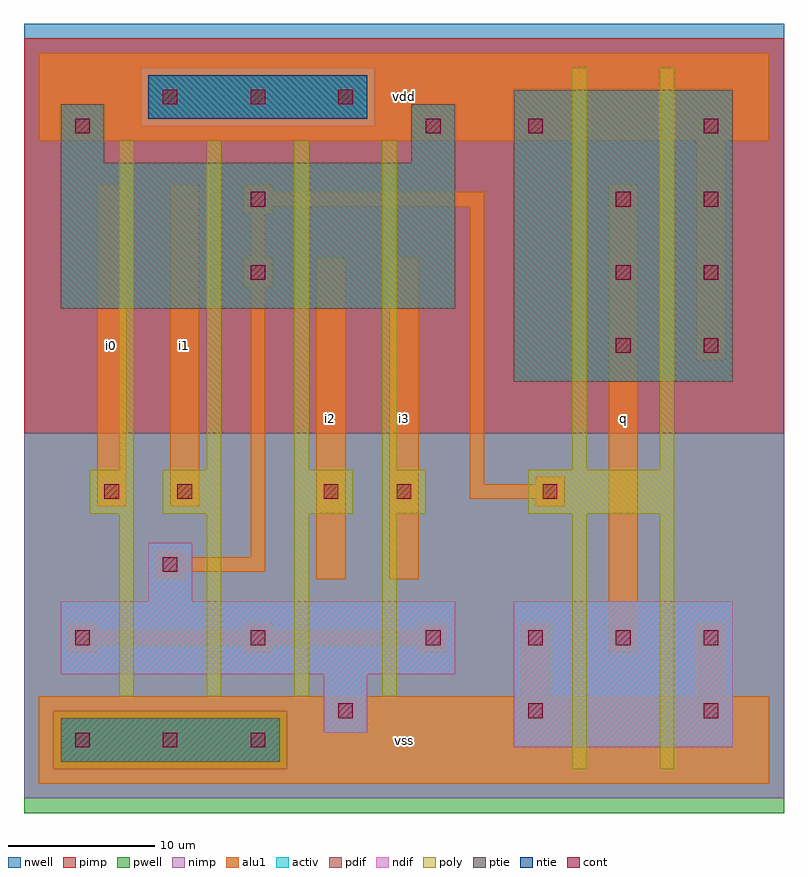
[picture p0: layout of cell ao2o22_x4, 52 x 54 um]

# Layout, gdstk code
import gdstk
lib = gdstk.Library(unit=1e-6, precision=1e-09)
def R(c, l, rs):  # rectangles x0, y0, x1, y1
    for r in rs: c.add(gdstk.rectangle(r[:2], r[2:], *l))
def A(c, l, x, y, w, h, nx, ny, dx, dy):  # array of equal rectangles
    R(c, l, [(x+i*dx, y+j*dy, x+i*dx+w, y+j*dy+h) for i in range(nx) for j in range(ny)])
ndif = (3, 0)
pdif = (4, 0)
ntie = (5, 0)
ptie = (6, 0)
cont = (25, 0)
pwell = (41, 0)
nwell = (42, 0)
activ = (43, 0)
pimp = (44, 0)
nimp = (45, 0)
poly = (46, 0)
alu1 = (49, 0)

ao2o22_x4 = lib.new_cell('ao2o22_x4')
R(ao2o22_x4, ndif, [(32.5,2.5,47.5,12.5), (19.5,3.5,22.5,7.5), (1.5,7.5,28.5,12.5), (7.5,12.5,10.5,16.5)])
R(ao2o22_x4, pdif, [(32.5,27.5,47.5,47.5), (1.5,32.5,28.5,42.5), (1.5,42.5,4.5,46.5), (25.5,42.5,28.5,46.5)])
R(ao2o22_x4, ntie, [(7.5,45.5,22.5,48.5)])
R(ao2o22_x4, ptie, [(1.5,1.5,16.5,4.5)])
A(ao2o22_x4, cont, 2.5, 2.5, 1, 1, 3, 1, 6, 0)
A(ao2o22_x4, cont, 2.5, 9.5, 1, 1, 3, 1, 12, 0)
A(ao2o22_x4, cont, 33.5, 9.5, 1, 1, 3, 1, 6, 0)
A(ao2o22_x4, cont, 39.5, 29.5, 1, 1, 1, 3, 0, 5)
A(ao2o22_x4, cont, 45.5, 29.5, 1, 1, 1, 4, 0, 5)
A(ao2o22_x4, cont, 8.5, 46.5, 1, 1, 3, 1, 6, 0)
R(ao2o22_x4, cont, [(20.5,4.5,21.5,5.5), (33.5,4.5,34.5,5.5), (45.5,4.5,46.5,5.5), (8.5,14.5,9.5,15.5), (4.5,19.5,5.5,20.5), (9.5,19.5,10.5,20.5), (19.5,19.5,20.5,20.5), (24.5,19.5,25.5,20.5), (34.5,19.5,35.5,20.5), (14.5,34.5,15.5,35.5), (14.5,39.5,15.5,40.5), (2.5,44.5,3.5,45.5), (26.5,44.5,27.5,45.5), (33.5,44.5,34.5,45.5)])
R(ao2o22_x4, pwell, [(-1,-2,51,24)])
R(ao2o22_x4, nwell, [(-1,24,51,52)])
R(ao2o22_x4, activ, [(1.5,1.5,16.5,4.5), (32.5,2.5,47.5,12.5), (19.5,3.5,22.5,7.5), (1.5,7.5,28.5,12.5), (7.5,12.5,10.5,16.5), (32.5,27.5,47.5,47.5), (1.5,32.5,28.5,42.5), (1.5,42.5,4.5,46.5), (25.5,42.5,28.5,46.5), (7.5,45.5,22.5,48.5)])
R(ao2o22_x4, pimp, [(1,1,17,5), (-1,24,51,45), (-1,45,7,49), (23,45,51,49), (-1,49,51,51)])
R(ao2o22_x4, nimp, [(-1,-1,51,1), (-1,1,1,5), (17,1,51,5), (-1,5,51,24), (7,45,23,49)])
A(ao2o22_x4, poly, 5.5, 6, 1, 12.5, 4, 1, 6, 0)
A(ao2o22_x4, poly, 5.5, 21.5, 1, 22.5, 4, 1, 6, 0)
R(ao2o22_x4, poly, [(36.5,1,37.5,18.5), (42.5,1,43.5,18.5), (3.5,18.5,6.5,21.5), (8.5,18.5,12.5,21.5), (17.5,18.5,21.5,21.5), (23.5,18.5,26.5,21.5), (33.5,18.5,43.5,21.5), (36.5,21.5,37.5,49), (42.5,21.5,43.5,49)])
A(ao2o22_x4, alu1, 2, 9, 2, 0.5, 3, 2, 12, 1.5)
R(ao2o22_x4, alu1, [(0,0,50,6), (33,6,35,11), (45,6,47,11), (39,9,41,41), (2,9.5,28,10.5), (8,14,10,14.5), (19,14,21,36), (24,14,26,36), (8,14.5,15.5,15.5), (8,15.5,10,16), (14.5,15.5,15.5,34), (4,19,6,41), (9,19,11,41), (34,19,36,19.5), (29.5,19.5,36,20.5), (29.5,20.5,30.5,39.5), (34,20.5,36,21), (45,29,47,44), (14,34,16,36), (14.5,36,15.5,39), (14,39,16,39.5), (14,39.5,30.5,40.5), (14,40.5,16,41), (0,44,50,50)])
ao2o22_x4.add(gdstk.Label('i0', (5,30), layer=49, texttype=0))
ao2o22_x4.add(gdstk.Label('i1', (10,30), layer=49, texttype=0))
ao2o22_x4.add(gdstk.Label('i2', (20,25), layer=49, texttype=0))
ao2o22_x4.add(gdstk.Label('vss', (25,3), layer=49, texttype=0))
ao2o22_x4.add(gdstk.Label('i3', (25,25), layer=49, texttype=0))
ao2o22_x4.add(gdstk.Label('vdd', (25,47), layer=49, texttype=0))
ao2o22_x4.add(gdstk.Label('q', (40,25), layer=49, texttype=0))

lib.write_gds('ao2o22_x4.gds')
